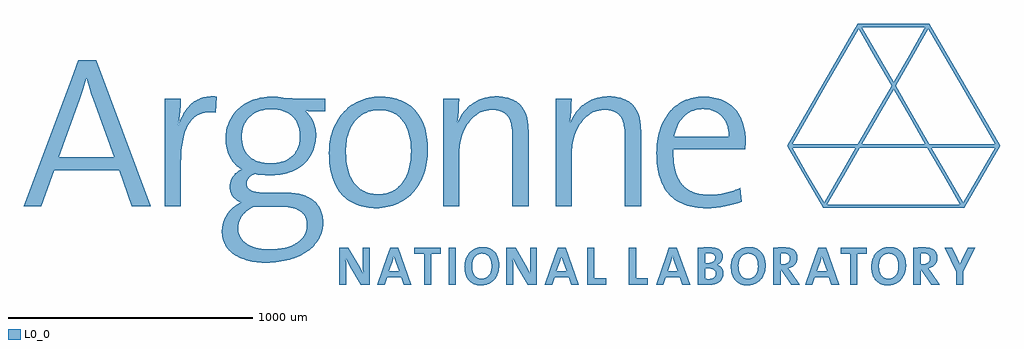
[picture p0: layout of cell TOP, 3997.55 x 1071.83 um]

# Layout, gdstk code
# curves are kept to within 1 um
import gdstk
lib = gdstk.Library(unit=1e-6, precision=1e-09)
def R(c, l, rs):  # rectangles x0, y0, x1, y1
    for r in rs: c.add(gdstk.rectangle(r[:2], r[2:], *l))
def P(c, l, *ps):  # polygons
    for p in ps: c.add(gdstk.Polygon(p, *l))
L0_0 = (0, 0)

top = lib.new_cell('TOP')
R(top, L0_0, [(-259.253,-533.439,-230.243,-381.486)])
P(top, L0_0, [(-1998.773,-211.626),(-1803.623,313.194),(-1743.443,313.194),(-1755.428,269.754),(-1770.053,226.329),(-1856.933,-10.386),(-1628.213,-10.386),(-1723.103,247.509),(-1741.688,313.194),(-1803.623,313.194),(-1776.263,386.769),(-1702.673,386.769),(-1480.163,-211.626),(-1557.278,-211.626),(-1609.583,-64.461),(-1875.563,-64.461),(-1928.723,-211.626)],
  [(-1422.548,-211.626),(-1422.548,228.984),(-1356.953,228.984),(-1359.503,176.904),(-1365.818,117.294),(-1352.723,153.279),(-1340.333,175.869),(-1324.763,196.269),(-1305.803,213.609),(-1283.243,226.944),(-1263.848,233.799),(-1234.508,237.999),(-1209.773,236.964),(-1212.428,171.369),(-1234.343,173.454),(-1254.398,172.284),(-1272.593,167.889),(-1292.003,158.454),(-1306.178,147.159),(-1318.553,132.804),(-1329.128,115.449),(-1339.493,90.699),(-1344.998,71.874),(-1351.148,40.194),(-1355.513,-8.316),(-1356.053,-211.626)],
  [(178.508,-211.626),(178.508,228.984),(244.148,228.984),(242.258,179.559),(237.068,131.469),(238.823,130.569),(255.998,164.169),(266.918,179.079),(279.323,192.564),(293.183,204.519),(308.438,214.839),(336.818,228.054),(355.553,233.424),(375.503,236.724),(414.758,237.114),(431.318,234.954),(453.308,229.209),(466.148,223.809),(480.263,215.424),(496.598,200.889),(510.743,180.729),(520.493,157.359),(527.198,124.494),(528.728,95.994),(528.728,-211.626),(462.218,-211.626),(462.218,73.839),(461.288,98.379),(458.303,120.039),(449.288,146.904),(441.158,159.294),(432.308,167.919),(421.568,174.639),(411.083,178.749),(396.563,181.839),(379.778,182.874),(361.718,181.479),(347.948,178.389),(331.643,172.224),(319.403,165.504),(307.913,157.314),(292.193,142.389),(278.468,124.539),(270.473,111.129),(260.393,88.974),(252.698,64.554),(245.678,19.554),(245.033,-211.626)],
  [(-282.248,-211.626),(-282.248,228.984),(-216.653,228.984),(-218.543,179.559),(-223.763,131.469),(-221.978,130.569),(-204.803,164.169),(-193.883,179.079),(-181.478,192.564),(-167.618,204.519),(-152.378,214.839),(-123.983,228.054),(-105.263,233.424),(-85.298,236.724),(-46.043,237.114),(-29.483,234.954),(-7.508,229.209),(5.348,223.809),(19.448,215.424),(35.798,200.889),(49.928,180.729),(59.678,157.359),(66.368,124.494),(67.898,95.994),(67.898,-211.626),(1.433,-211.626),(1.433,73.839),(0.518,98.379),(-2.468,120.039),(-11.483,146.904),(-19.613,159.294),(-28.478,167.919),(-39.218,174.639),(-49.703,178.749),(-64.238,181.839),(-81.023,182.874),(-99.083,181.479),(-112.853,178.389),(-129.158,172.224),(-141.398,165.504),(-152.888,157.314),(-168.593,142.389),(-182.333,124.539),(-190.328,111.129),(-200.408,88.974),(-208.103,64.554),(-215.123,19.554),(-215.768,-211.626)],
  [(795.668,-219.606),(748.718,-216.231),(727.463,-211.971),(707.708,-205.986),(689.453,-198.246),(672.713,-188.751),(650.483,-171.171),(637.598,-157.206),(626.273,-141.426),(616.538,-123.816),(608.378,-104.361),(599.168,-71.676),(592.583,-21.501),(591.743,6.459),(593.603,42.669),(596.873,65.664),(604.748,98.199),(616.103,128.109),(625.568,146.424),(642.518,171.249),(656.198,186.429),(781.493,186.429),(759.083,184.359),(738.518,178.284),(719.993,168.474),(703.703,155.184),(689.798,138.639),(678.518,119.109),(669.998,96.849),(664.463,72.084),(887.858,72.084),(885.653,102.354),(881.468,118.734),(875.273,133.629),(867.113,146.934),(857.063,158.499),(845.228,168.249),(831.668,176.019),(811.073,183.144),(787.733,186.294),(656.198,186.429),(670.118,198.864),(686.003,210.099),(712.328,223.509),(741.608,232.479),(773.723,236.679),(806.993,235.989),(827.303,233.154),(846.023,228.549),(863.153,222.279),(878.753,214.449),(905.438,194.544),(926.303,169.644),(941.588,140.589),(951.548,108.204),(956.873,64.314),(955.238,22.434),(660.923,22.434),(660.743,-1.446),(662.948,-33.921),(668.063,-62.526),(676.028,-87.351),(682.898,-101.856),(695.498,-120.636),(708.068,-133.611),(725.603,-146.091),(749.348,-156.501),(772.478,-162.006),(798.113,-164.466),(824.573,-164.091),(876.023,-156.756),(907.553,-147.786),(934.853,-136.251),(941.063,-192.996),(908.873,-204.261),(873.683,-212.631),(835.838,-217.821)],
  [(-555.443,-219.606),(-587.483,-217.716),(-607.523,-214.311),(-626.483,-209.196),(-644.273,-202.326),(-660.863,-193.716),(-676.193,-183.336),(-690.218,-171.171),(-702.893,-157.206),(-714.158,-141.426),(-723.953,-123.816),(-732.248,-104.361),(-738.998,-83.046),(-747.593,-34.761),(-749.348,-7.761),(-748.673,29.799),(-741.503,74.484),(-727.448,115.704),(-717.923,134.709),(-706.778,152.499),(-681.653,182.004),(-545.708,182.004),(-564.998,180.624),(-583.808,176.394),(-601.808,169.299),(-613.223,162.924),(-629.213,150.849),(-638.993,141.114),(-652.118,123.894),(-659.708,110.664),(-669.113,88.119),(-673.943,71.274),(-679.688,33.129),(-679.883,-8.736),(-676.913,-37.251),(-671.483,-63.006),(-660.488,-92.946),(-649.493,-112.041),(-640.883,-123.141),(-626.123,-137.286),(-615.053,-145.026),(-590.063,-156.381),(-568.898,-161.226),(-553.658,-162.666),(-539.243,-162.696),(-520.163,-160.326),(-501.803,-155.061),(-490.073,-149.886),(-473.498,-139.611),(-463.238,-131.046),(-444.983,-109.686),(-430.298,-82.536),(-419.858,-49.431),(-414.308,-10.191),(-414.113,31.224),(-418.253,66.999),(-429.263,105.549),(-442.718,131.139),(-460.283,151.824),(-476.153,163.959),(-494.333,173.064),(-514.823,179.049),(-545.708,182.004),(-681.653,182.004),(-663.998,197.229),(-646.733,208.854),(-628.028,218.649),(-607.913,226.479),(-586.418,232.224),(-563.603,235.764),(-519.608,236.259),(-490.883,232.449),(-472.598,227.994),(-438.548,214.179),(-422.978,204.699),(-408.518,193.419),(-395.273,180.294),(-383.318,165.234),(-372.773,148.194),(-363.743,129.099),(-356.318,107.904),(-350.603,84.549),(-345.443,45.294),(-345.368,-8.061),(-352.733,-54.276),(-367.118,-96.621),(-376.838,-116.061),(-388.163,-134.196),(-408.098,-158.691),(-423.263,-173.046),(-439.898,-185.691),(-457.958,-196.521),(-477.368,-205.416),(-498.113,-212.256),(-520.133,-216.921)],
  [(-1004.633,-442.989),(-1053.953,-439.704),(-1080.428,-434.619),(-1104.383,-427.224),(-1125.668,-417.564),(-1144.103,-405.654),(-1154.738,-396.489),(-1168.088,-380.916),(-1178.183,-363.186),(-1183.988,-346.776),(-1187.318,-328.911),(-1187.753,-303.426),(-1184.693,-284.181),(-1177.013,-262.131),(-1168.193,-246.171),(-1154.348,-228.426),(-1137.998,-213.381),(-1058.693,-213.381),(-1078.673,-225.621),(-1090.193,-235.101),(-1100.138,-245.526),(-1110.143,-259.791),(-1116.023,-272.061),(-1120.523,-288.366),(-1121.663,-302.061),(-1120.238,-317.301),(-1116.098,-331.131),(-1109.423,-343.521),(-1100.378,-354.471),(-1089.173,-363.936),(-1075.958,-371.901),(-1060.913,-378.381),(-1026.098,-386.721),(-993.113,-388.926),(-943.073,-384.771),(-908.288,-375.411),(-880.193,-361.221),(-859.178,-342.756),(-851.438,-332.076),(-845.618,-320.526),(-841.763,-308.166),(-839.903,-295.071),(-842.153,-269.016),(-845.918,-258.036),(-851.438,-248.181),(-864.563,-234.336),(-882.623,-223.941),(-905.648,-217.206),(-939.923,-214.266),(-1137.998,-213.381),(-1111.898,-196.536),(-1123.973,-189.966),(-1134.353,-181.956),(-1148.303,-164.301),(-1155.443,-143.091),(-1154.933,-118.821),(-1148.978,-100.491),(-1138.403,-84.066),(-1123.478,-70.221),(-1107.458,-60.921),(-1126.568,-47.466),(-1145.078,-27.816),(-1156.883,-8.721),(-1166.768,17.169),(-1172.048,46.014),(-1172.843,75.339),(-1169.738,100.524),(-1163.003,124.554),(-1148.573,154.209),(-1139.108,167.814),(-1123.088,185.544),(-985.133,185.544),(-1012.238,183.399),(-1041.788,175.044),(-1061.738,164.244),(-1081.808,146.139),(-1093.778,128.424),(-1103.333,102.759),(-1106.453,79.854),(-1104.578,48.504),(-1098.638,26.379),(-1088.918,7.509),(-1075.553,-8.046),(-1053.968,-22.746),(-1027.208,-32.091),(-1002.278,-35.631),(-968.933,-35.061),(-944.888,-30.546),(-918.863,-20.001),(-897.773,-4.131),(-882.113,16.914),(-873.818,37.359),(-869.138,67.284),(-871.013,98.994),(-878.993,126.294),(-892.763,148.719),(-903.653,159.759),(-921.113,171.519),(-941.783,179.799),(-959.273,183.654),(-985.133,185.544),(-1123.088,185.544),(-1102.133,202.614),(-1070.663,219.864),(-1043.693,229.164),(-1013.963,234.954),(-969.668,236.739),(-900.353,230.769),(-861.308,228.984),(-765.263,228.984),(-765.263,176.679),(-817.823,176.679),(-847.688,178.404),(-835.943,168.354),(-827.693,158.784),(-814.268,136.299),(-805.598,109.839),(-802.523,80.034),(-805.538,45.939),(-814.613,14.484),(-829.673,-13.716),(-844.898,-32.391),(-863.468,-48.666),(-877.703,-58.071),(-901.823,-69.801),(-919.748,-75.951),(-949.373,-82.476),(-982.298,-85.536),(-1025.798,-83.961),(-1054.283,-79.521),(-1065.533,-84.801),(-1074.398,-91.446),(-1080.893,-99.141),(-1085.063,-107.586),(-1086.908,-122.961),(-1082.903,-135.201),(-1073.423,-144.591),(-1056.683,-151.656),(-1035.068,-155.421),(-1017.248,-156.516),(-895.523,-157.881),(-864.788,-163.221),(-838.328,-172.626),(-816.203,-185.901),(-798.548,-202.821),(-785.468,-223.221),(-777.053,-246.891),(-773.858,-266.661),(-773.318,-285.111),(-774.983,-302.121),(-780.053,-322.476),(-786.413,-337.956),(-794.723,-352.626),(-810.698,-373.011),(-823.553,-385.416),(-845.948,-402.084),(-862.823,-411.804),(-900.893,-427.599),(-932.918,-435.999),(-955.748,-439.839)],
  [(1540.238,-535.914),(1524.113,-534.549),(1510.163,-530.559),(1498.388,-524.094),(1486.718,-512.724),(1479.803,-501.174),(1475.018,-487.599),(1472.033,-467.979),(1472.153,-450.189),(1477.598,-425.634),(1489.088,-405.324),(1542.728,-405.324),(1531.328,-407.079),(1522.598,-411.264),(1514.963,-417.939),(1508.873,-427.119),(1504.688,-438.819),(1503.008,-450.009),(1505.153,-478.104),(1509.098,-489.234),(1513.658,-496.554),(1520.303,-502.944),(1528.598,-507.234),(1539.773,-509.319),(1549.658,-508.644),(1558.658,-505.614),(1566.953,-500.094),(1574.003,-491.949),(1578.413,-483.474),(1582.838,-460.959),(1580.258,-435.174),(1577.018,-426.204),(1571.213,-417.174),(1561.763,-409.629),(1549.703,-405.804),(1489.088,-405.324),(1501.463,-393.264),(1516.838,-384.486),(1534.223,-379.776),(1552.763,-379.281),(1566.623,-381.576),(1581.953,-387.741),(1592.378,-395.364),(1600.988,-405.414),(1607.543,-417.924),(1611.893,-432.954),(1613.828,-450.519),(1613.528,-464.499),(1610.618,-481.419),(1606.673,-492.759),(1599.323,-506.004),(1589.843,-516.984),(1578.518,-525.579),(1565.633,-531.669),(1551.503,-535.119)],
  [(965.078,-535.914),(948.938,-534.549),(934.988,-530.559),(923.213,-524.094),(911.528,-512.724),(904.613,-501.174),(898.958,-483.894),(896.843,-467.979),(896.963,-450.189),(902.408,-425.634),(913.898,-405.324),(967.553,-405.324),(956.153,-407.079),(947.408,-411.264),(939.788,-417.939),(933.683,-427.119),(929.498,-438.819),(927.818,-450.009),(929.963,-478.104),(933.908,-489.234),(938.468,-496.554),(945.128,-502.944),(953.423,-507.234),(964.613,-509.319),(974.483,-508.644),(983.483,-505.614),(991.763,-500.094),(1002.248,-485.754),(1007.483,-464.184),(1005.698,-437.649),(1002.758,-428.304),(997.343,-418.779),(988.343,-410.634),(974.528,-405.804),(913.898,-405.324),(926.273,-393.264),(941.663,-384.486),(959.048,-379.776),(977.588,-379.281),(991.448,-381.576),(1006.763,-387.741),(1017.203,-395.364),(1025.798,-405.414),(1032.368,-417.924),(1036.703,-432.954),(1038.398,-445.884),(1038.338,-464.499),(1036.418,-477.369),(1031.483,-492.759),(1024.148,-506.004),(1014.668,-516.984),(1003.343,-525.579),(990.473,-531.669),(976.328,-535.119)],
  [(-126.068,-535.914),(-142.223,-534.549),(-156.188,-530.559),(-170.573,-522.114),(-179.648,-512.724),(-186.578,-501.174),(-191.363,-487.599),(-194.333,-467.979),(-194.228,-450.189),(-188.783,-425.634),(-177.278,-405.324),(-123.608,-405.324),(-135.023,-407.079),(-143.768,-411.264),(-151.388,-417.939),(-157.493,-427.119),(-161.663,-438.819),(-163.358,-450.009),(-163.433,-462.114),(-161.198,-478.104),(-157.253,-489.234),(-152.693,-496.554),(-146.048,-502.944),(-137.753,-507.234),(-126.563,-509.319),(-116.693,-508.644),(-107.693,-505.614),(-99.413,-500.094),(-92.363,-491.949),(-87.953,-483.474),(-83.528,-460.959),(-86.108,-435.174),(-89.348,-426.204),(-95.153,-417.174),(-104.603,-409.629),(-116.633,-405.804),(-177.278,-405.324),(-164.903,-393.264),(-149.498,-384.486),(-132.113,-379.776),(-113.573,-379.281),(-99.728,-381.576),(-84.398,-387.741),(-73.973,-395.364),(-65.378,-405.414),(-58.823,-417.924),(-54.473,-432.954),(-52.538,-450.519),(-52.838,-464.499),(-54.773,-477.369),(-59.693,-492.759),(-67.043,-506.004),(-76.523,-516.984),(-87.833,-525.579),(-100.703,-531.669),(-114.818,-535.119)],
  [(1644.413,-533.439),(1644.413,-404.439),(1684.793,-404.439),(1673.408,-405.129),(1673.408,-449.019),(1690.133,-449.079),(1701.533,-445.269),(1709.573,-436.929),(1712.018,-426.294),(1711.073,-418.839),(1708.238,-412.944),(1698.023,-406.164),(1688.123,-404.529),(1644.413,-404.439),(1644.413,-381.486),(1699.583,-381.141),(1712.738,-383.526),(1723.763,-387.951),(1733.168,-395.364),(1739.438,-405.669),(1742.348,-420.504),(1740.818,-435.309),(1736.258,-445.689),(1727.648,-455.469),(1715.993,-462.354),(1703.978,-465.654),(1752.443,-533.439),(1716.518,-533.439),(1674.548,-470.649),(1673.408,-470.649),(1673.408,-533.439)],
  [(1070.918,-533.439),(1070.918,-404.439),(1111.283,-404.439),(1099.898,-405.129),(1099.898,-449.019),(1116.608,-449.079),(1128.023,-445.269),(1136.048,-436.929),(1138.493,-426.294),(1137.548,-418.839),(1134.713,-412.944),(1124.513,-406.164),(1114.613,-404.529),(1070.918,-404.439),(1070.918,-381.486),(1126.073,-381.141),(1139.228,-383.526),(1150.253,-387.951),(1159.643,-395.364),(1165.913,-405.669),(1168.823,-420.504),(1167.293,-435.309),(1162.733,-445.689),(1154.123,-455.469),(1142.468,-462.354),(1130.453,-465.654),(1178.918,-533.439),(1143.008,-533.439),(1101.038,-470.649),(1099.898,-470.649),(1099.898,-533.439)],
  [(805.463,-533.889),(761.543,-533.439),(761.543,-466.329),(803.258,-466.329),(790.538,-466.554),(790.538,-509.154),(811.463,-509.799),(825.863,-505.224),(830.903,-500.529),(833.933,-494.499),(834.038,-480.969),(828.173,-472.599),(816.203,-467.514),(761.543,-466.329),(761.543,-404.244),(807.473,-404.244),(790.538,-404.694),(790.538,-444.279),(810.968,-443.949),(823.898,-439.464),(828.188,-435.699),(831.398,-429.924),(831.743,-417.009),(826.838,-409.359),(816.578,-405.009),(761.543,-404.244),(761.543,-381.711),(812.393,-380.586),(834.053,-383.046),(844.673,-387.006),(851.498,-391.493),(857.873,-398.694),(861.743,-407.589),(862.943,-420.969),(859.268,-434.064),(851.048,-444.819),(839.153,-452.619),(853.283,-459.114),(862.778,-471.414),(865.943,-486.609),(862.058,-505.344),(854.483,-516.804),(842.228,-526.104),(824.633,-532.164)],
  [(1819.613,-533.439),(1819.613,-479.874),(1772.558,-381.486),(1804.208,-381.486),(1834.313,-450.384),(1865.798,-381.486),(1896.593,-381.486),(1848.593,-479.619),(1848.593,-533.439)],
  [(1385.888,-533.439),(1385.888,-406.479),(1346.858,-406.479),(1346.858,-381.486),(1453.958,-381.486),(1453.958,-406.479),(1414.913,-406.479),(1414.913,-533.439)],
  [(1201.223,-533.439),(1242.263,-415.014),(1269.038,-415.014),(1261.898,-440.439),(1248.308,-479.169),(1290.248,-479.169),(1274.153,-433.224),(1269.263,-415.014),(1242.263,-415.014),(1253.888,-381.486),(1286.678,-381.486),(1340.483,-533.439),(1308.308,-533.439),(1297.853,-502.374),(1240.943,-502.374),(1230.473,-533.439)],
  [(589.958,-533.439),(630.998,-415.014),(657.788,-415.014),(650.633,-440.439),(637.028,-479.169),(679.013,-479.169),(662.873,-433.224),(657.998,-415.014),(630.998,-415.014),(642.623,-381.486),(675.443,-381.486),(729.203,-533.439),(697.073,-533.439),(686.573,-502.374),(629.678,-502.374),(619.193,-533.439)],
  [(479.033,-533.439),(479.033,-381.486),(508.043,-381.486),(508.043,-507.789),(556.898,-507.789),(556.898,-533.439)],
  [(307.238,-533.439),(307.238,-381.486),(336.248,-381.486),(336.248,-507.789),(385.118,-507.789),(385.118,-533.439)],
  [(134.948,-533.439),(176.018,-415.014),(202.808,-415.014),(195.638,-440.439),(182.033,-479.169),(223.973,-479.169),(207.878,-433.224),(203.003,-415.014),(176.018,-415.014),(187.643,-381.486),(220.433,-381.486),(274.208,-533.439),(242.063,-533.439),(231.563,-502.374),(174.653,-502.374),(164.168,-533.439)],
  [(-22.808,-533.439),(-22.808,-381.486),(14.903,-381.486),(56.858,-453.969),(75.368,-489.759),(73.793,-381.486),(101.903,-381.486),(101.903,-533.439),(64.433,-533.439),(20.228,-456.699),(3.938,-424.029),(5.288,-533.439)],
  [(-360.368,-533.439),(-360.368,-406.479),(-399.428,-406.479),(-399.428,-381.486),(-292.313,-381.486),(-292.313,-406.479),(-331.358,-406.479),(-331.358,-533.439)],
  [(-551.198,-533.439),(-510.173,-415.014),(-483.368,-415.014),(-490.523,-440.439),(-504.113,-479.169),(-462.173,-479.169),(-478.268,-433.224),(-483.158,-415.014),(-510.173,-415.014),(-498.563,-381.486),(-465.728,-381.486),(-411.953,-533.439),(-444.098,-533.439),(-454.568,-502.374),(-511.493,-502.374),(-521.963,-533.439)],
  [(-707.393,-533.439),(-707.393,-381.486),(-669.683,-381.486),(-627.758,-453.969),(-609.248,-489.759),(-610.808,-381.486),(-582.668,-381.486),(-582.668,-533.439),(-620.168,-533.439),(-664.328,-456.699),(-680.618,-424.029),(-679.298,-533.439)],
  [(1273.913,-218.736),(1131.353,28.164),(1147.433,28.164),(1277.948,-197.856),(1408.418,28.164),(1424.498,28.164),(1289.993,-204.801),(1836.083,-204.801),(1701.593,28.164),(1717.673,28.164),(1848.173,-197.856),(1978.658,28.164),(1131.353,28.164),(1127.318,35.139),(1404.398,515.034),(1420.508,515.034),(1147.433,42.084),(1416.458,42.084),(1546.958,268.119),(1563.038,268.119),(1432.538,42.084),(1693.553,42.084),(1563.038,268.119),(1546.958,268.119),(1554.998,282.054),(1420.508,515.034),(1404.398,515.034),(1408.433,522.009),(1432.538,522.009),(1563.038,295.974),(1689.518,515.034),(1705.598,515.034),(1571.108,282.054),(1709.633,42.084),(1978.658,42.084),(1705.598,515.034),(1689.518,515.034),(1693.553,522.009),(1408.433,522.009),(1416.458,535.914),(1709.633,535.914),(1998.773,35.139),(1852.163,-218.736)])
top.add(gdstk.FlexPath([(781.493,186.429),(781.493,186.429)], 0, ends="flush", simple_path=True, layer=0, datatype=0))  # L0_0
top.add(gdstk.FlexPath([(-545.708,182.004),(-545.708,182.004)], 0, ends="flush", simple_path=True, layer=0, datatype=0))  # L0_0
top.add(gdstk.FlexPath([(-985.133,185.544),(-985.133,185.544)], 0, ends="flush", simple_path=True, layer=0, datatype=0))  # L0_0
top.add(gdstk.FlexPath([(1111.283,-404.439),(1111.283,-404.439)], 0, ends="flush", simple_path=True, layer=0, datatype=0))  # L0_0
top.add(gdstk.FlexPath([(209.933,-439.344),(209.933,-439.344)], 0, ends="flush", simple_path=True, layer=0, datatype=0))  # L0_0
top.add(gdstk.FlexPath([(1408.418,28.164),(1408.418,28.164)], 0, ends="flush", simple_path=True, layer=0, datatype=0))  # L0_0
top.add(gdstk.FlexPath([(1563.038,295.974),(1563.038,295.974)], 0, ends="flush", simple_path=True, layer=0, datatype=0))  # L0_0
top.add(gdstk.FlexPath([(1432.538,42.084),(1432.538,42.084)], 0, ends="flush", simple_path=True, layer=0, datatype=0))  # L0_0
top.add(gdstk.FlexPath([(1424.498,28.164),(1424.498,28.164)], 0, ends="flush", simple_path=True, layer=0, datatype=0))  # L0_0
top.add(gdstk.FlexPath([(1705.598,515.034),(1705.598,515.034)], 0, ends="flush", simple_path=True, layer=0, datatype=0))  # L0_0
top.add(gdstk.FlexPath([(1147.433,42.084),(1147.433,42.084)], 0, ends="flush", simple_path=True, layer=0, datatype=0))  # L0_0

lib.write_gds('TOP.gds')
